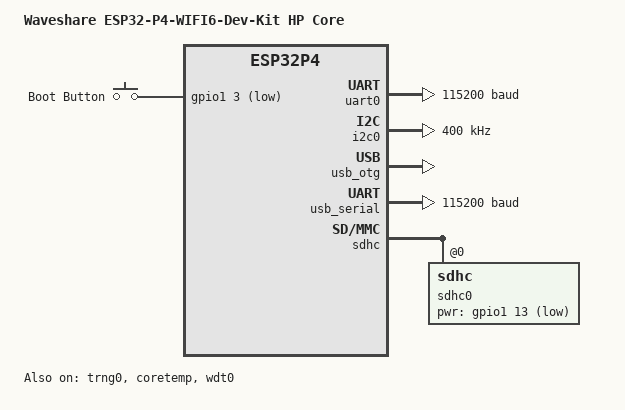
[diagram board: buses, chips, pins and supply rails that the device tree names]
/*
 * Copyright (c) 2026 Process Mission
 *
 * SPDX-License-Identifier: Apache-2.0
 */

/dts-v1/;

#include <espressif/esp32p4/esp32p4_n16r32.dtsi>
#include "esp32p4_wifi6_dev_kit_esp32p4_hpcore-pinctrl.dtsi"
#include <zephyr/dt-bindings/input/input-event-codes.h>
#include <espressif/partitions_0x2000_default_16M.dtsi>

/ {
	model = "Waveshare ESP32-P4-WIFI6-Dev-Kit HP Core";
	compatible = "espressif,esp32p4";

	chosen {
		zephyr,sram = &sramhp;
		zephyr,console = &usb_serial;
		zephyr,shell-uart = &usb_serial;
		zephyr,flash = &flash0;
		zephyr,code-partition = &slot0_partition;
	};

	aliases {
		sdhc0 = &sdhc0;
		sw0 = &boot_button;
		watchdog0 = &wdt0;
	};

	gpio_keys {
		compatible = "gpio-keys";

		boot_button: button {
			label = "Boot Button";
			gpios = <&gpio1 3 (GPIO_PULL_UP | GPIO_ACTIVE_LOW)>;
			zephyr,code = <INPUT_KEY_0>;
		};
	};
};

/* v3.1 silicon: valid CPU frequencies are 100/200/400 MHz */
&cpu0 {
	clock-frequency = <DT_FREQ_M(400)>;
};

&cpu1 {
	clock-frequency = <DT_FREQ_M(400)>;
};

&uart0 {
	status = "okay";
	current-speed = <115200>;
	pinctrl-0 = <&uart0_default>;
	pinctrl-names = "default";
};

&i2c0 {
	status = "okay";
	clock-frequency = <I2C_BITRATE_FAST>;
	pinctrl-0 = <&i2c0_default>;
	pinctrl-names = "default";
};

&i2s0 {
	status = "disabled";
	pinctrl-0 = <&i2s0_default>;
	pinctrl-names = "default";
};

&spi2 {
	status = "disabled";
};

&trng0 {
	status = "okay";
};

&coretemp {
	status = "okay";
};

&gpio0 {
	status = "okay";
};

&gpio1 {
	status = "okay";
};

&wdt0 {
	status = "okay";
};

&dma {
	status = "okay";
};

&dma_axi {
	status = "okay";
};

zephyr_udc0: &usb_otg {
	status = "okay";
};

&usb_serial {
	status = "okay";
	current-speed = <115200>;
};

&sdhc {
	sdhc0: sdhc@0 {
		status = "okay";
		bus-width = <4>;
		max-bus-freq = <40000000>;
		/* GPIO45: SD card power enable (active-low) */
		pwr-gpios = <&gpio1 13 GPIO_ACTIVE_LOW>;
		clk-pin = <43>;
		cmd-pin = <44>;
		d0-pin = <39>;
		d1-pin = <40>;
		d2-pin = <41>;
		d3-pin = <42>;

		mmc {
			compatible = "zephyr,sdmmc-disk";
			disk-name = "SD";
			status = "okay";
		};
	};

	/* ESP32-C6 wireless co-processor over SDIO (kept disabled until
	 * there is a driver binding for it; pins follow the schematic:
	 * clk=18, cmd=19, d0-d3=14-17, with 51K pull-ups on the C6 side).
	 */
	sdhc1: sdhc@1 {
		status = "disabled";
		bus-width = <4>;
		clk-pin = <18>;
		cmd-pin = <19>;
		d0-pin = <14>;
		d1-pin = <15>;
		d2-pin = <16>;
		d3-pin = <17>;
	};
};

&ldo {
	status = "okay";

	ldo1@1 {
		reg = <1>;
		regulator-name = "ldo1";
		regulator-init-microvolt = <3300000>;
		regulator-boot-on;
		regulator-always-on;
	};

	ldo2@2 {
		reg = <2>;
		regulator-name = "ldo2";
		regulator-init-microvolt = <1800000>;
		regulator-boot-on;
		regulator-always-on;
	};

	ldo4@4 {
		reg = <4>;
		regulator-name = "ldo4";
		regulator-init-microvolt = <3300000>;
		regulator-boot-on;
		regulator-always-on;
	};
};
